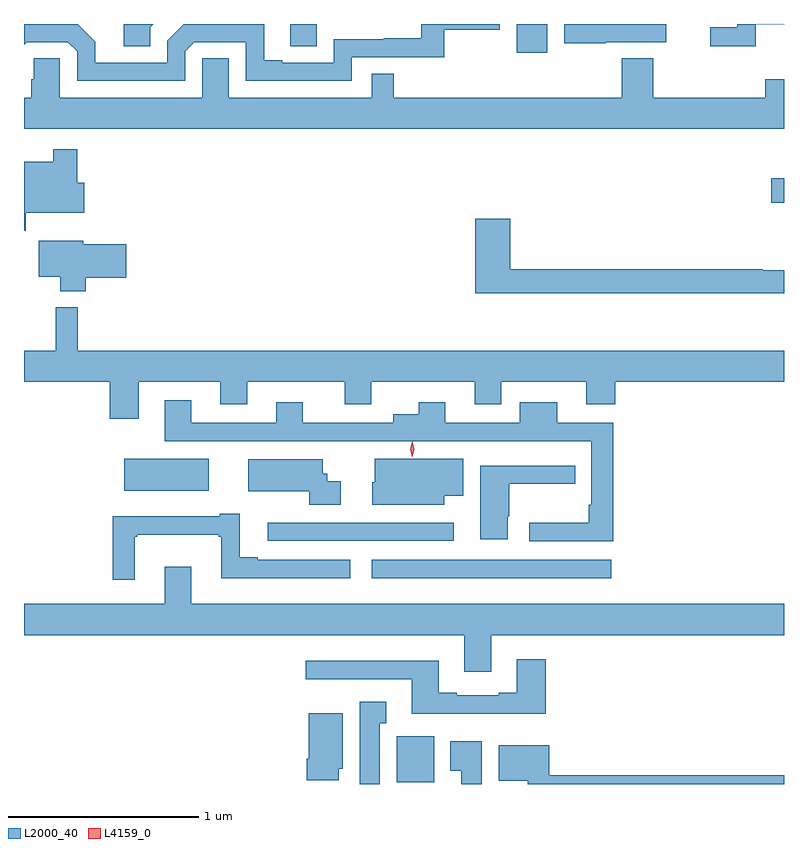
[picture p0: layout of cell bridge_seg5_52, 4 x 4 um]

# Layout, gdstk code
import gdstk
lib = gdstk.Library(unit=1e-6, precision=1e-09)
def R(c, l, rs):  # rectangles x0, y0, x1, y1
    for r in rs: c.add(gdstk.rectangle(r[:2], r[2:], *l))
def P(c, l, *ps):  # polygons
    for p in ps: c.add(gdstk.Polygon(p, *l))
L2000_40 = (2000, 40)
L4159_0 = (4159, 0)

bridge_seg5_52 = lib.new_cell('bridge_seg5_52')
R(bridge_seg5_52, L2000_40, [(845.348,843.998,845.545,844.24), (845.217,845.072,846.478,845.169), (844.671,845.268,845.65,845.364), (843.914,845.531,844.36,845.701), (847.32,847.048,847.387,847.177), (845.981,847.836,846.142,847.988), (844.787,847.87,844.927,847.988)])
P(bridge_seg5_52, L2000_40, [(847.238,847.986),(847.387,847.986),(847.387,847.988),(847.14,847.988),(847.14,847.972),(846.999,847.972),(846.999,847.87),(847.238,847.87)],
  [(844.051,847.972),(844.067,847.988),(843.911,847.988),(843.911,847.87),(844.051,847.87)],
  [(846.449,847.893),(846.768,847.893),(846.768,847.988),(846.231,847.988),(846.231,847.888),(846.449,847.888)],
  [(844.236,847.845),(844.284,847.893),(844.554,847.893),(844.554,847.689),(845.112,847.689),(845.112,847.812),(845.599,847.812),(845.599,847.959),(845.892,847.959),(845.892,847.988),(845.478,847.988),(845.478,847.913),(845.281,847.913),(845.281,847.908),(845.016,847.908),(845.016,847.785),(844.747,847.785),(844.747,847.798),(844.651,847.798),(844.651,847.988),(844.229,847.988),(844.14,847.899),(844.14,847.785),(843.763,847.785),(843.763,847.895),(843.67,847.988),(843.387,847.988),(843.387,847.878),(843.402,847.893),(843.618,847.893),(843.666,847.845),(843.666,847.689),(844.236,847.689)],
  [(847.387,847.698),(847.289,847.698),(847.289,847.6),(846.698,847.6),(846.698,847.808),(846.533,847.808),(846.533,847.6),(845.333,847.6),(845.333,847.727),(845.217,847.727),(845.217,847.6),(844.465,847.6),(844.465,847.808),(844.326,847.808),(844.326,847.6),(843.576,847.6),(843.576,847.808),(843.439,847.808),(843.439,847.698),(843.425,847.698),(843.425,847.6),(843.387,847.6),(843.387,847.436),(847.387,847.436)],
  [(843.395,846.995),(843.703,846.995),(843.703,847.153),(843.668,847.153),(843.668,847.33),(843.54,847.33),(843.54,847.264),(843.387,847.264),(843.387,846.899),(843.395,846.899)],
  [(847.387,846.691),(847.274,846.691),(847.274,846.698),(845.945,846.698),(845.945,846.964),(845.762,846.964),(845.762,846.57),(847.387,846.57)],
  [(843.713,846.652),(843.925,846.652),(843.925,846.83),(843.7,846.83),(843.7,846.847),(843.464,846.847),(843.464,846.659),(843.578,846.659),(843.578,846.581),(843.713,846.581)],
  [(843.839,845.91),(843.991,845.91),(843.991,846.104),(844.421,846.104),(844.421,845.987),(844.561,845.987),(844.561,846.104),(845.075,846.104),(845.075,845.987),(845.215,845.987),(845.215,846.104),(845.759,846.104),(845.759,845.987),(845.899,845.987),(845.899,846.104),(846.347,846.104),(846.347,845.987),(846.5,845.987),(846.5,846.104),(847.387,846.104),(847.387,846.268),(843.671,846.268),(843.671,846.496),(843.554,846.496),(843.554,846.268),(843.387,846.268),(843.387,846.104),(843.839,846.104)],
  [(846.488,845.889),(846.193,845.889),(846.193,845.998),(845.996,845.998),(845.996,845.889),(845.605,845.889),(845.605,845.998),(845.465,845.998),(845.465,845.935),(845.33,845.935),(845.33,845.889),(844.855,845.889),(844.855,845.998),(844.715,845.998),(844.715,845.889),(844.267,845.889),(844.267,846.007),(844.127,846.007),(844.127,845.793),(846.372,845.793),(846.372,845.458),(846.36,845.458),(846.36,845.363),(846.045,845.363),(846.045,845.265),(846.488,845.265)],
  [(845.599,845.504),(845.698,845.504),(845.698,845.701),(845.234,845.701),(845.234,845.577),(845.219,845.577),(845.219,845.459),(845.599,845.459)],
  [(845.053,845.581),(844.983,845.581),(844.983,845.622),(844.96,845.622),(844.96,845.698),(844.568,845.698),(844.568,845.528),(844.887,845.528),(844.887,845.459),(845.053,845.459)],
  [(845.932,845.398),(845.94,845.398),(845.94,845.567),(846.287,845.567),(846.287,845.663),(846.179,845.663),(846.179,845.664),(845.789,845.664),(845.789,845.276),(845.932,845.276)],
  [(843.97,845.289),(843.982,845.289),(843.982,845.3),(844.413,845.3),(844.413,845.289),(844.424,845.289),(844.424,845.072),(845.104,845.072),(845.104,845.169),(844.618,845.169),(844.618,845.182),(844.522,845.182),(844.522,845.41),(844.418,845.41),(844.418,845.398),(843.853,845.398),(843.853,845.064),(843.97,845.064)],
  [(845.845,844.772),(847.387,844.772),(847.387,844.936),(844.267,844.936),(844.267,845.131),(844.127,845.131),(844.127,844.936),(843.387,844.936),(843.387,844.772),(845.705,844.772),(845.705,844.578),(845.845,844.578)],
  [(846.134,844.645),(845.981,844.645),(845.981,844.468),(845.885,844.468),(845.885,844.455),(845.665,844.455),(845.665,844.468),(845.569,844.468),(845.569,844.636),(844.869,844.636),(844.869,844.539),(845.429,844.539),(845.429,844.358),(846.134,844.358)],
  [(845.26,844.307),(845.293,844.307),(845.293,844.42),(845.153,844.42),(845.153,843.988),(845.26,843.988)],
  [(845.044,844.068),(845.065,844.068),(845.065,844.36),(844.886,844.36),(844.886,844.12),(844.874,844.12),(844.874,844.008),(845.044,844.008)],
  [(845.797,844.213),(845.63,844.213),(845.63,844.057),(845.687,844.057),(845.687,843.988),(845.797,843.988)],
  [(847.387,844.034),(846.151,844.034),(846.151,844.192),(845.885,844.192),(845.885,844.004),(846.039,844.004),(846.039,843.988),(847.387,843.988)])
P(bridge_seg5_52, L4159_0, [(845.431,845.708),(845.431,845.708),(845.42,845.749),(845.43,845.79),(845.43,845.79),(845.43,845.79),(845.44,845.749),(845.431,845.708)])

lib.write_gds('bridge_seg5_52.gds')
